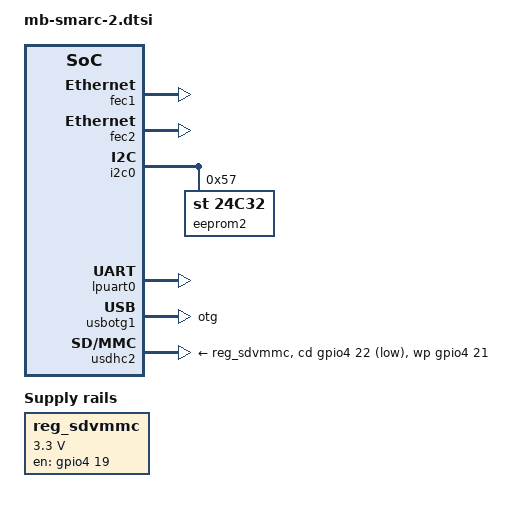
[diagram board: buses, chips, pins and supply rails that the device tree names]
// SPDX-License-Identifier: GPL-2.0-or-later OR MIT
/*
 * Copyright 2018 - 2021 TQ-Systems GmbH
 */

/ {
	chosen {
		bootargs = "console=ttyLP0,115200 earlycon";
		stdout-path = &lpuart0;
	};

	reg_sdvmmc: regulator-sdvmmc {
		compatible = "regulator-fixed";
		regulator-name = "SD1_VMMC";
		regulator-min-microvolt = <3300000>;
		regulator-max-microvolt = <3300000>;
		gpio = <&gpio4 19 GPIO_ACTIVE_HIGH>;
		enable-active-high;
		off-on-delay-us = <200000>;
		regulator-boot-on;
	};

	/*
	 * TODO:
	 * these are defined in CPU part of dtb, which is wrong.
	 * check when porting to newer release and keep in sync with kernel dtb
	 */
#if 0
	reserved-memory {
		decoder_boot: decoder-boot@84000000 {
			reg = <0 0x84000000 0 0x2000000>;
			no-map;
		};

		encoder_boot: encoder-boot@86000000 {
			reg = <0 0x86000000 0 0x200000>;
			no-map;
		};

		decoder_rpc: decoder-rpc@0x92000000 {
			reg = <0 0x92000000 0 0x200000>;
			no-map;
		};

		encoder_rpc: encoder-rpc@0x92200000 {
			reg = <0 0x92200000 0 0x200000>;
			no-map;
		};

		encoder_reserved: encoder_reserved@94400000 {
			reg = <0 0x94400000 0 0x800000>;
			no-map;
		};
	};
#endif
};

&ethphy0 {
	/* LED1: Link, LED2: activity */
	ti,led-function = <0xc100>;
	/* active high, LED1/2 driven by phy */
	ti,led-ctrl = <0x1441>;
};

&ethphy3 {
	/* LED1: Link, LED2: activity */
	ti,led-function = <0xc100>;
	/* active high, LED1/2 driven by phy */
	ti,led-ctrl = <0x1441>;
};

&fec1 {
	status = "okay";
};

&fec2 {
	status = "okay";
};

&i2c0 {
	eeprom2: eeprom@57 {
		compatible = "st,24c32", "atmel,24c32";
		reg = <0x57>;
		pagesize = <32>;
	};
};

&lpuart0 {
	status = "okay";
};

&usbotg1 {
	dr_mode = "otg";
	status = "okay";
};

&usdhc2 {
	cd-gpios = <&gpio4 22 GPIO_ACTIVE_LOW>;
	wp-gpios = <&gpio4 21 GPIO_ACTIVE_HIGH>;
	vmmc-supply = <&reg_sdvmmc>;
	no-mmc;
	no-sdio;
	status = "okay";
};
